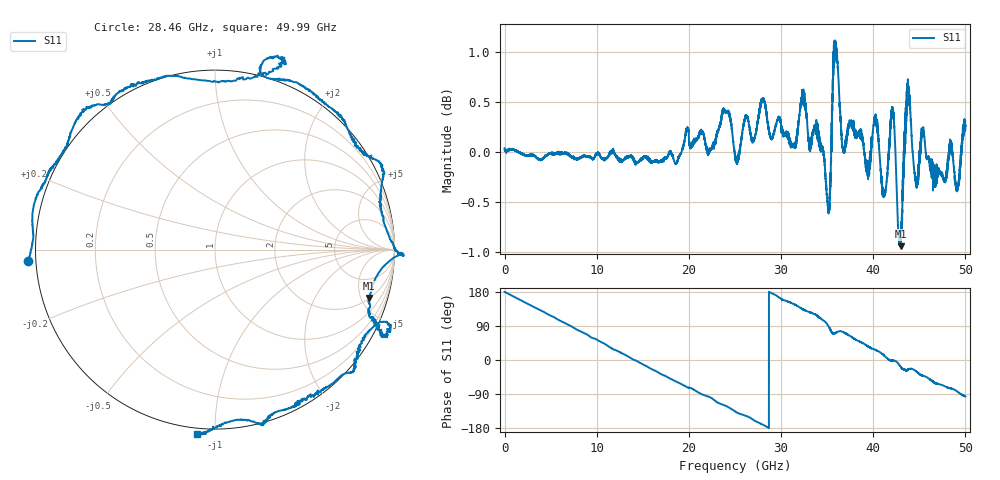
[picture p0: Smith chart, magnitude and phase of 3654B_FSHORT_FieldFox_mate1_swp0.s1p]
!Created with skrf (http://scikit-rf.org).
# Hz S RI R 50.0
!freq ReS11 ImS11
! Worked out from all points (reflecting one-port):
!   10000 points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, 5.3 MHz to 50 GHz, reference 50 ohm
!   lowest |S11| = -0.9 dB at 42.96 GHz (marker M1), VSWR 18.39, Z = 104 - j288 ohm
!   phase of S11 starts at 180 deg and turns -636 deg over the sweep
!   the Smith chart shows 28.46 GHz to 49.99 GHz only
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5299970  -1.004 0.00131
2.875283e9  -0.8034 0.5895
6.255262e9  -0.1906 0.9799
8.930246e9  0.3794 0.9194
1.250522e10  0.9265 0.3529
1.534521e10  0.9576 -0.2665
1.875519e10  0.5193 -0.8422
2.149017e10  -0.0224 -1.022
2.389016e10  -0.5242 -0.908
2.500515e10  -0.7095 -0.6963
2.806013e10  -1.051 -0.1621
3.005512e10  -0.9701 0.344
3.125511e10  -0.8625 0.5219
3.244011e10  -0.7269 0.7797
3.38651e10  -0.4802 0.9058
3.483009e10  -0.1646 0.9577
3.568509e10  0.3727 1.048
3.655008e10  0.2548 0.9876
3.750507e10  0.4701 0.9231
4.026006e10  0.9302 0.4616
4.210005e10  1.044 -0.0323
4.296004e10  0.8554 -0.2696
4.375504e10  0.9747 -0.4562
4.436503e10  0.895 -0.4196
4.524503e10  0.785 -0.6504
4.680002e10  0.4584 -0.8569
4.866501e10  0.2291 -0.9641
5e10  -0.1068 -1.025
